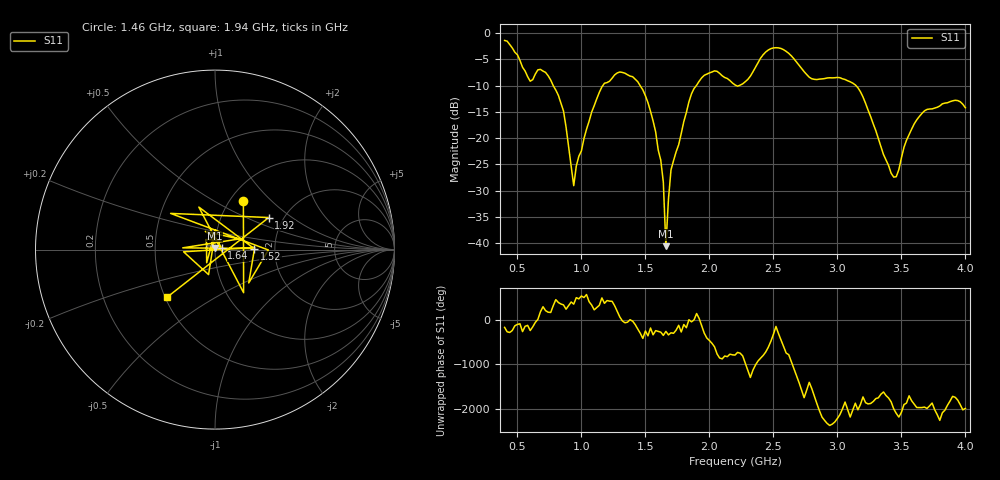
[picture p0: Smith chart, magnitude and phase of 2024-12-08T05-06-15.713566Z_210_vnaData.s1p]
!Created with skrf (http://scikit-rf.org).
# Hz S RI R 50.0
!freq ReS11 ImS11
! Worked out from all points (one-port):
!   181 points, 400 MHz to 4 GHz, reference 50 ohm
!   lowest |S11| = -40.6 dB at 1.66 GHz (marker M1), VSWR 1.02, Z = 49.8 + j0.914 ohm
!   |S11| at or under -10 dB: 780.1 MHz to 1.167 GHz (386.6 MHz wide, 39.7 % of centre); 1.459 GHz to 1.897 GHz (438.3 MHz wide, 26.1 % of centre); 3.145 GHz to end of sweep (the widest 3 of 4)
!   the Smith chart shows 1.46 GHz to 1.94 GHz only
!   S11 on the Smith chart (normalised r, x): 1.46 GHz: 1.15, +0.70; 1.52 GHz: 1.56, +0.02; 1.64 GHz: 1.08, +0.02; 1.92 GHz: 1.68, +0.68; 1.94 GHz: 0.51, -0.32
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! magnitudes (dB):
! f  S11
! 400 MHz  -1.4
! 600 MHz  -9.1
! 720 MHz  -7.5
! 860 MHz  -14.8
! 940 MHz  -29.1
! 980 MHz  -23.5
! 1.14 GHz  -11.3
! 1.3 GHz  -7.4
! 1.46 GHz  -10.0
! 1.52 GHz  -13.2
! 1.58 GHz  -18.8
! 1.64 GHz  -28.4
! 1.66 GHz  -40.6
! 1.7 GHz  -26.0
! 1.76 GHz  -21.3
! 1.86 GHz  -11.6
! 1.92 GHz  -9.2
! 1.94 GHz  -8.5
! 2.2 GHz  -9.9
! 2.48 GHz  -2.9
! 2.66 GHz  -4.9
! 2.8 GHz  -8.7
! 3.1 GHz  -9.3
! 3.2 GHz  -12.2
! 3.44 GHz  -27.4
! 3.56 GHz  -19.3
! 3.7 GHz  -14.5
! 4 GHz  -14.2
